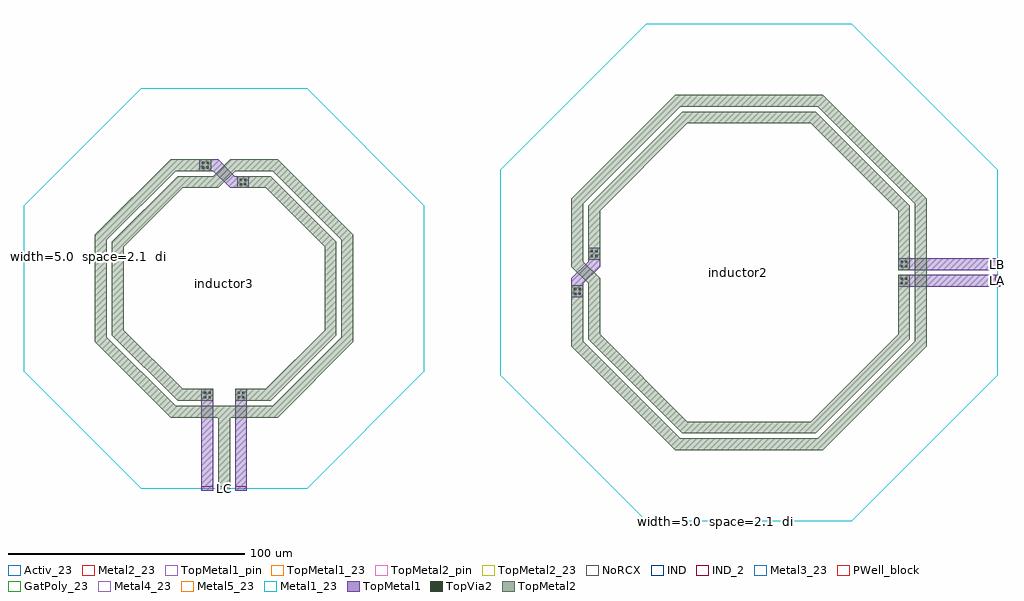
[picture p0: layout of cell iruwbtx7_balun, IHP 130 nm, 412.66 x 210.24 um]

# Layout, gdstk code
import gdstk
lib = gdstk.Library(unit=1e-6, precision=1e-09)
def R(c, l, rs):  # rectangles x0, y0, x1, y1
    for r in rs: c.add(gdstk.rectangle(r[:2], r[2:], *l))
def A(c, l, x, y, w, h, nx, ny, dx, dy):  # array of equal rectangles
    R(c, l, [(x+i*dx, y+j*dy, x+i*dx+w, y+j*dy+h) for i in range(nx) for j in range(ny)])
def P(c, l, *ps):  # polygons
    for p in ps: c.add(gdstk.Polygon(p, *l))
Activ_23 = (1, 23)
GatPoly_23 = (5, 23)
Metal1_23 = (8, 23)
Metal2_23 = (10, 23)
IND = (27, 0)
IND_2 = (27, 2)
Metal3_23 = (30, 23)
PWell_block = (46, 21)
Metal4_23 = (50, 23)
Metal5_23 = (67, 23)
TopMetal1 = (126, 0)
TopMetal1_pin = (126, 2)
TopMetal1_23 = (126, 23)
TopVia2 = (133, 0)
TopMetal2 = (134, 0)
TopMetal2_pin = (134, 2)
TopMetal2_23 = (134, 23)
NoRCX = (148, 0)

iruwbtx7_balun = lib.new_cell('iruwbtx7_balun')
P(iruwbtx7_balun, Activ_23, [(53.25,2.77),(3.68,52.34),(3.68,122.44),(53.25,172.01),(123.35,172.01),(172.92,122.44),(172.92,52.34),(123.35,2.77)],
  [(266.68,-11),(205.1,50.58),(205.1,137.66),(266.68,199.24),(353.76,199.24),(415.34,137.66),(415.34,50.58),(353.76,-11)])
P(iruwbtx7_balun, GatPoly_23, [(53.25,2.77),(3.68,52.34),(3.68,122.44),(53.25,172.01),(123.35,172.01),(172.92,122.44),(172.92,52.34),(123.35,2.77)],
  [(266.68,-11),(205.1,50.58),(205.1,137.66),(266.68,199.24),(353.76,199.24),(415.34,137.66),(415.34,50.58),(353.76,-11)])
P(iruwbtx7_balun, Metal1_23, [(53.25,2.77),(3.68,52.34),(3.68,122.44),(53.25,172.01),(123.35,172.01),(172.92,122.44),(172.92,52.34),(123.35,2.77)],
  [(266.68,-11),(205.1,50.58),(205.1,137.66),(266.68,199.24),(353.76,199.24),(415.34,137.66),(415.34,50.58),(353.76,-11)])
P(iruwbtx7_balun, Metal2_23, [(53.25,2.77),(3.68,52.34),(3.68,122.44),(53.25,172.01),(123.35,172.01),(172.92,122.44),(172.92,52.34),(123.35,2.77)],
  [(266.68,-11),(205.1,50.58),(205.1,137.66),(266.68,199.24),(353.76,199.24),(415.34,137.66),(415.34,50.58),(353.76,-11)])
P(iruwbtx7_balun, IND, [(53.25,2.77),(3.68,52.34),(3.68,122.44),(53.25,172.01),(123.35,172.01),(172.92,122.44),(172.92,52.34),(123.35,2.77)],
  [(266.68,-11),(205.1,50.58),(205.1,137.66),(266.68,199.24),(353.76,199.24),(415.34,137.66),(415.34,50.58),(353.76,-11)])
A(iruwbtx7_balun, IND_2, 78.7, 1.77, 5, 2, 3, 1, 7.1, 0)
R(iruwbtx7_balun, IND_2, [(414.34,88.07,416.34,93.07), (414.34,95.17,416.34,100.17)])
P(iruwbtx7_balun, Metal3_23, [(53.25,2.77),(3.68,52.34),(3.68,122.44),(53.25,172.01),(123.35,172.01),(172.92,122.44),(172.92,52.34),(123.35,2.77)],
  [(266.68,-11),(205.1,50.58),(205.1,137.66),(266.68,199.24),(353.76,199.24),(415.34,137.66),(415.34,50.58),(353.76,-11)])
P(iruwbtx7_balun, PWell_block, [(53.25,2.77),(3.68,52.34),(3.68,122.44),(53.25,172.01),(123.35,172.01),(172.92,122.44),(172.92,52.34),(123.35,2.77)],
  [(266.68,-11),(205.1,50.58),(205.1,137.66),(266.68,199.24),(353.76,199.24),(415.34,137.66),(415.34,50.58),(353.76,-11)])
P(iruwbtx7_balun, Metal4_23, [(53.25,2.77),(3.68,52.34),(3.68,122.44),(53.25,172.01),(123.35,172.01),(172.92,122.44),(172.92,52.34),(123.35,2.77)],
  [(266.68,-11),(205.1,50.58),(205.1,137.66),(266.68,199.24),(353.76,199.24),(415.34,137.66),(415.34,50.58),(353.76,-11)])
P(iruwbtx7_balun, Metal5_23, [(53.25,2.77),(3.68,52.34),(3.68,122.44),(53.25,172.01),(123.35,172.01),(172.92,122.44),(172.92,52.34),(123.35,2.77)],
  [(266.68,-11),(205.1,50.58),(205.1,137.66),(266.68,199.24),(353.76,199.24),(415.34,137.66),(415.34,50.58),(353.76,-11)])
P(iruwbtx7_balun, TopMetal1, [(90.835,129.87),(83.715,136.99),(77.825,136.99),(77.825,141.99),(85.765,141.99),(92.885,134.87),(98.775,134.87),(98.775,129.87)],
  [(235.12,83.645),(235.12,91.585),(242.24,98.705),(242.24,104.595),(247.24,104.595),(247.24,96.655),(240.12,89.535),(240.12,83.645)])
R(iruwbtx7_balun, TopMetal1_pin, [(78.7,1.77,83.7,3.77), (92.9,1.77,97.9,3.77), (414.34,88.07,416.34,93.07), (414.34,95.17,416.34,100.17)])
P(iruwbtx7_balun, TopMetal1_23, [(53.25,2.77),(3.68,52.34),(3.68,122.44),(53.25,172.01),(123.35,172.01),(172.92,122.44),(172.92,52.34),(123.35,2.77)],
  [(266.68,-11),(205.1,50.58),(205.1,137.66),(266.68,199.24),(353.76,199.24),(415.34,137.66),(415.34,50.58),(353.76,-11)])
R(iruwbtx7_balun, TopVia2, [(79.77,40.94,80.67,41.84), (81.73,40.94,82.63,41.84), (93.97,40.94,94.87,41.84), (95.93,40.94,96.83,41.84), (79.77,42.9,80.67,43.8), (81.73,42.9,82.63,43.8), (93.97,42.9,94.87,43.8), (95.93,42.9,96.83,43.8), (236.21,84.715,237.11,85.615), (238.17,84.715,239.07,85.615), (236.21,86.675,237.11,87.575), (238.17,86.675,239.07,87.575), (374.31,89.14,375.21,90.04), (376.27,89.14,377.17,90.04), (374.31,91.1,375.21,92), (376.27,91.1,377.17,92), (374.31,96.24,375.21,97.14), (376.27,96.24,377.17,97.14), (374.31,98.2,375.21,99.1), (376.27,98.2,377.17,99.1), (243.31,100.665,244.21,101.565), (245.27,100.665,246.17,101.565), (243.31,102.625,244.21,103.525), (245.27,102.625,246.17,103.525), (94.845,130.94,95.745,131.84), (96.805,130.94,97.705,131.84), (94.845,132.9,95.745,133.8), (96.805,132.9,97.705,133.8), (78.895,138.04,79.795,138.94), (80.855,138.04,81.755,138.94), (78.895,140,79.795,140.9), (80.855,140,81.755,140.9)])
R(iruwbtx7_balun, TopMetal2, [(82.825,32.77,93.775,37.77), (380.34,88.645,385.34,99.595)])
P(iruwbtx7_balun, TopMetal2, [(92.9,39.87),(92.9,44.87),(105.9,44.87),(130.8,69.77),(130.8,104.97),(105.9,129.87),(93.775,129.87),(93.775,134.87),(107.98,134.87),(135.8,107.05),(135.8,67.69),(107.98,39.87)],
  [(68.62,39.87),(40.8,67.69),(40.8,107.05),(68.62,134.87),(82.825,134.87),(82.825,129.87),(70.7,129.87),(45.8,104.97),(45.8,69.77),(70.7,44.87),(83.7,44.87),(83.7,39.87)],
  [(82.825,129.87),(82.825,134.87),(83.715,134.87),(90.835,141.99),(93.775,141.99),(93.775,136.99),(92.915,136.99),(85.795,129.87)],
  [(93.775,32.77),(93.775,37.77),(108.845,37.77),(137.91,66.835),(137.91,107.925),(108.845,136.99),(93.775,136.99),(93.775,141.99),(110.925,141.99),(142.91,110.005),(142.91,64.755),(110.925,32.77)],
  [(65.675,32.77),(33.69,64.755),(33.69,110.005),(65.675,141.99),(82.825,141.99),(82.825,136.99),(67.755,136.99),(38.69,107.925),(38.69,66.835),(67.755,37.77),(82.825,37.77),(82.825,32.77)],
  [(373.24,95.17),(373.24,120.215),(336.335,157.12),(284.145,157.12),(247.24,120.215),(247.24,99.595),(242.24,99.595),(242.24,122.295),(282.065,162.12),(338.415,162.12),(378.24,122.295),(378.24,95.17)],
  [(282.065,26.12),(242.24,65.945),(242.24,88.645),(247.24,88.645),(247.24,68.025),(284.145,31.12),(336.335,31.12),(373.24,68.025),(373.24,93.07),(378.24,93.07),(378.24,65.945),(338.415,26.12)],
  [(242.24,88.645),(242.24,89.535),(235.12,96.655),(235.12,99.595),(240.12,99.595),(240.12,98.735),(247.24,91.615),(247.24,88.645)],
  [(235.12,99.595),(235.12,125.24),(279.11,169.23),(341.35,169.23),(385.34,125.24),(385.34,99.595),(380.34,99.595),(380.34,123.16),(339.27,164.23),(281.19,164.23),(240.12,123.16),(240.12,99.595)],
  [(279.11,19.01),(235.12,63),(235.12,88.645),(240.12,88.645),(240.12,65.08),(281.19,24.01),(339.27,24.01),(380.34,65.08),(380.34,88.645),(385.34,88.645),(385.34,63),(341.35,19.01)])
R(iruwbtx7_balun, TopMetal2_pin, [(85.8,1.77,90.8,3.77)])
P(iruwbtx7_balun, TopMetal2_23, [(53.25,2.77),(3.68,52.34),(3.68,122.44),(53.25,172.01),(123.35,172.01),(172.92,122.44),(172.92,52.34),(123.35,2.77)],
  [(266.68,-11),(205.1,50.58),(205.1,137.66),(266.68,199.24),(353.76,199.24),(415.34,137.66),(415.34,50.58),(353.76,-11)])
P(iruwbtx7_balun, NoRCX, [(53.25,2.77),(3.68,52.34),(3.68,122.44),(53.25,172.01),(123.35,172.01),(172.92,122.44),(172.92,52.34),(123.35,2.77)],
  [(266.68,-11),(205.1,50.58),(205.1,137.66),(266.68,199.24),(353.76,199.24),(415.34,137.66),(415.34,50.58),(353.76,-11)])
iruwbtx7_balun.add(gdstk.FlexPath([(88.3,1.77),(88.3,32.77)], 5, ends="flush", simple_path=True, layer=134, datatype=0))  # TopMetal2
iruwbtx7_balun.add(gdstk.FlexPath([(95.4,1.77),(95.4,44.87)], 5, ends="flush", simple_path=True, layer=126, datatype=0))  # TopMetal1
iruwbtx7_balun.add(gdstk.FlexPath([(81.2,1.77),(81.2,44.87)], 5, ends="flush", simple_path=True, layer=126, datatype=0))  # TopMetal1
iruwbtx7_balun.add(gdstk.FlexPath([(416.34,97.67),(373.24,97.67)], 5, ends="flush", simple_path=True, layer=126, datatype=0))  # TopMetal1
iruwbtx7_balun.add(gdstk.FlexPath([(416.34,90.57),(373.24,90.57)], 5, ends="flush", simple_path=True, layer=126, datatype=0))  # TopMetal1
iruwbtx7_balun.add(gdstk.Label('LC', (88.3,2.77), layer=27, texttype=25))
iruwbtx7_balun.add(gdstk.Label('LB', (95.4,2.77), layer=27, texttype=25))
iruwbtx7_balun.add(gdstk.Label('LA', (81.2,2.77), layer=27, texttype=25))
iruwbtx7_balun.add(gdstk.Label('LB', (415.34,97.67), layer=27, texttype=25))
iruwbtx7_balun.add(gdstk.Label('LA', (415.34,90.57), layer=27, texttype=25))
iruwbtx7_balun.add(gdstk.Label('inductor3', (88.3,89.265), layer=63, texttype=0))
iruwbtx7_balun.add(gdstk.Label('  width=5.0\n  space=2.1\n  diameter=85.00\n  turns=2', (3.68,100.795), layer=63, texttype=0))
iruwbtx7_balun.add(gdstk.Label('inductor2', (305.852,94.12), layer=63, texttype=0))
iruwbtx7_balun.add(gdstk.Label('  width=5.0\n  space=2.1\n  diameter=126.00\n  turns=2', (294.33,-11), layer=63, texttype=0))

lib.write_gds('iruwbtx7_balun.gds')
